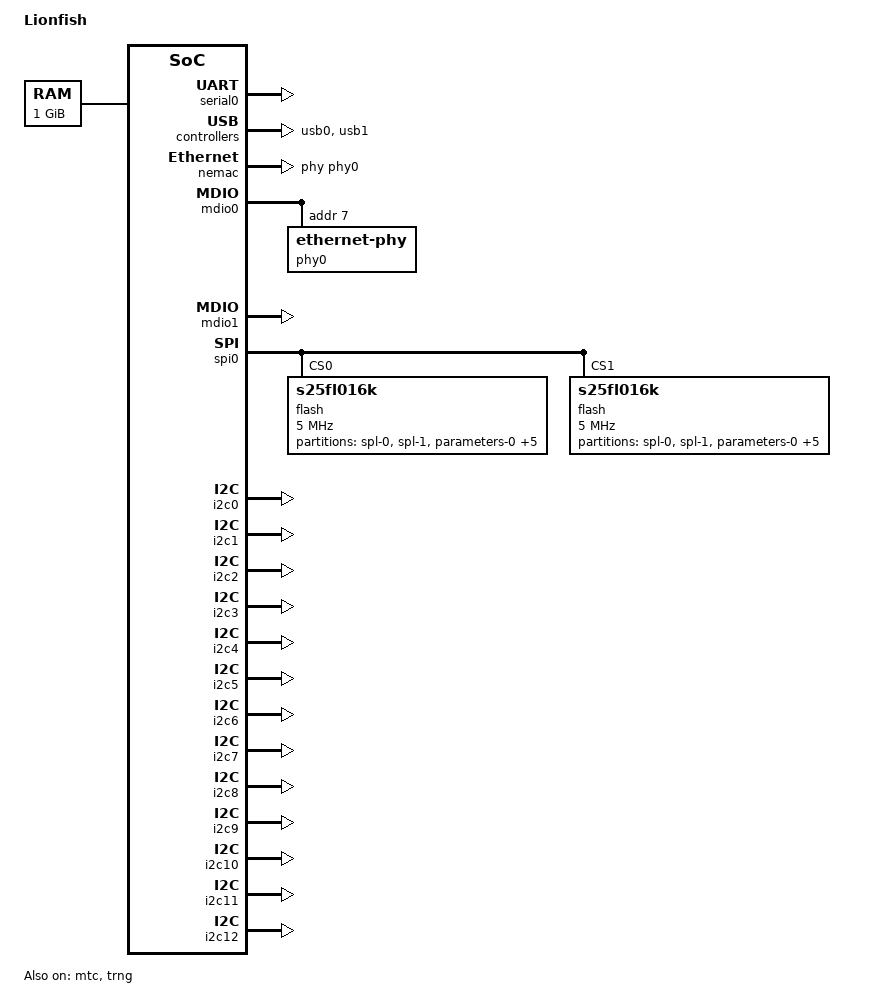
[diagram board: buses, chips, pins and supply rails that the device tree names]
/*
 * arch/arm64/boot/dts/intel/axc6704-waco.dts
 *
 * Copyright (C) 2016 Intel Corp.
 *
 * This program is free software; you can redistribute it and/or modify
 * it under the terms of the GNU General Public License as published by
 * the Free Software Foundation; either version 2 of the License, or
 * (at your option) any later version.
 */

/dts-v1/;

#include "axc67xx.dtsi"
#include "axc6704-cpus.dtsi"
#include "axc6704-coresight.dtsi"

/ {
	model = "Lionfish";
	compatible = "lsi,axc6732";

	memory {
		device_type = "memory";
		reg = <0 0x00000000 0 0x40000000>;
	};

	soc {
	};
};

&serial0 {
	status = "okay";
};

&usb0 {
	status = "okay";
};

&usb1 {
	status = "okay";
};

&nemac {
	status = "okay";
	phy-handle = <&phy0>;
};

&mdio0 {
	status = "okay";
	lsi,mdio-clk-offset = <0x1c>;
	lsi,mdio-clk-period = <0xf0>;
	max-speed = <10>;

	phy0: ethernet-phy@3 {
		reg = <0x7>;
	};
};

&mdio1 {
	status = "okay";
	lsi,mdio-clk-offset = <0x1c>;
	lsi,mdio-clk-period = <0xf0>;
	max-speed = <10>;
};

&spi0 {
	status = "okay";

	flash@0 {
		#address-cells = <1>;
		#size-cells = <1>;
		compatible = "s25fl016k";
		reg = <0>;
		spi-max-frequency = <5000000>;
		pl022,com-mode = <1>;

		partition@0 {
			label = "spl-0";
			reg = <0x0 0x40000>;
		};
		partition@40000 {
			label = "spl-1";
			reg = <0x40000 0x40000>;
		};
		partition@80000 {
			label = "parameters-0";
			reg = <0x80000 0x10000>;
		};
		partition@90000 {
			label = "parameters-1";
			reg = <0x90000 0x10000>;
		};
		partition@a0000 {
			label = "env-0";
			reg = <0xa0000 0x10000>;
		};
		partition@b0000 {
			label = "env-1";
			reg = <0xb0000 0x10000>;
		};
		partition@100000 {
			label = "u-boot-0";
			reg = <0x100000 0x200000>;
		};
		partition@300000 {
			label = "u-boot-1";
			reg = <0x300000 0x200000>;
		};
	};

	flash@1 {
		#address-cells = <1>;
		#size-cells = <1>;
		compatible = "s25fl016k";
		reg = <1>;
		spi-max-frequency = <5000000>;
		pl022,com-mode = <1>;

		partition@0 {
			label = "spl-0";
			reg = <0x0 0x40000>;
		};
		partition@40000 {
			label = "spl-1";
			reg = <0x40000 0x40000>;
		};
		partition@80000 {
			label = "parameters-0";
			reg = <0x80000 0x10000>;
		};
		partition@90000 {
			label = "parameters-1";
			reg = <0x90000 0x10000>;
		};
		partition@a0000 {
			label = "env-0";
			reg = <0xa0000 0x10000>;
		};
		partition@b0000 {
			label = "env-1";
			reg = <0xb0000 0x10000>;
		};
		partition@100000 {
			label = "u-boot-0";
			reg = <0x100000 0x200000>;
		};
		partition@300000 {
			label = "u-boot-1";
			reg = <0x300000 0x200000>;
		};
	};
};

&i2c0 {
	status = "okay";
};

&i2c1 {
	status = "okay";
};

&i2c2 {
	status = "okay";
};

&i2c3 {
	status = "okay";
};

&i2c4 {
	status = "okay";
};

&i2c5 {
	status = "okay";
};

&i2c6 {
	status = "okay";
};

&i2c7 {
	status = "okay";
};

&i2c8 {
	status = "okay";
};

&i2c9 {
	status = "okay";
};

&i2c10 {
	status = "okay";
};

&i2c11 {
	status = "okay";
};

&i2c12 {
	status = "okay";
};

&gpio0 {
	status = "okay";
};

&gpio1 {
	status = "okay";
};

&gpio2 {
	status = "okay";
};

&gpio3 {
	status = "okay";
};

&gpio4 {
	status = "okay";
};

&gpio5 {
	status = "okay";
};

&gpio6 {
	status = "okay";
};

&gpio7 {
	status = "okay";
};

&gpio8 {
	status = "okay";
};

&gpio9 {
	status = "okay";
};

&gpio10 {
	status = "okay";
};

&gpio11 {
	status = "okay";
};

&mtc {
	status = "okay";
};

&trng {
	status = "okay";
};
